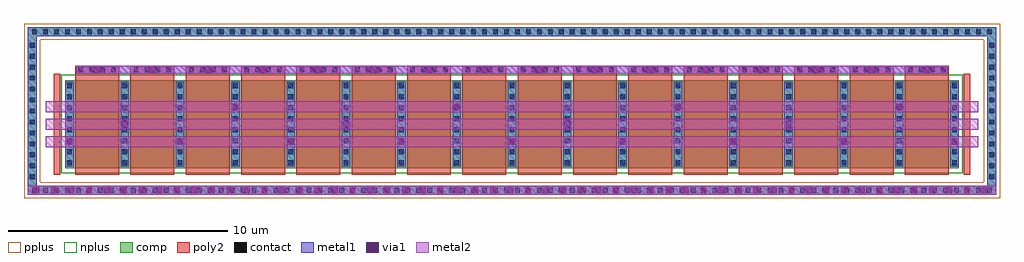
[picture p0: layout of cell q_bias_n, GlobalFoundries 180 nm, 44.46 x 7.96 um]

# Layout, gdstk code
import gdstk
lib = gdstk.Library(unit=1e-6, precision=1e-09)
def R(c, l, rs):  # rectangles x0, y0, x1, y1
    for r in rs: c.add(gdstk.rectangle(r[:2], r[2:], *l))
def A(c, l, x, y, w, h, nx, ny, dx, dy):  # array of equal rectangles
    R(c, l, [(x+i*dx, y+j*dy, x+i*dx+w, y+j*dy+h) for i in range(nx) for j in range(ny)])
comp = (22, 0)
poly2 = (30, 0)
pplus = (31, 0)
nplus = (32, 0)
contact = (33, 0)
metal1 = (34, 0)
via1 = (35, 0)
metal2 = (36, 0)

q_bias_n = lib.new_cell('q_bias_n')
R(q_bias_n, comp, [(0,0,44.14,0.42), (0,0,0.42,7.64), (43.72,0,44.14,7.64), (1.72,1.22,42.42,5.22), (0,7.22,44.14,7.64)])
A(q_bias_n, poly2, 2.17, 0.92, 2, 4.96, 16, 1, 2.52, 0)
R(q_bias_n, poly2, [(1.2,0.92,1.48,5.52), (42.66,0.92,42.94,5.52)])
R(q_bias_n, pplus, [(-0.16,-0.16,44.3,0.58), (-0.16,-0.16,0.58,7.8), (43.56,-0.16,44.3,7.8), (-0.16,7.06,44.3,7.8)])
R(q_bias_n, nplus, [(1.54,0.98,42.6,5.46)])
A(q_bias_n, contact, 0.21, 0.1, 0.22, 0.22, 88, 2, 0.5, 7.22)
A(q_bias_n, contact, 0.1, 0.71, 0.22, 0.22, 1, 13, 0, 0.5)
A(q_bias_n, contact, 43.82, 0.71, 0.22, 0.22, 1, 13, 0, 0.5)
A(q_bias_n, contact, 1.8, 1.36, 0.22, 0.22, 17, 8, 2.52, 0.5)
A(q_bias_n, contact, 2.31, 5.59, 0.22, 0.22, 4, 1, 0.5, 0)
A(q_bias_n, contact, 4.83, 5.59, 0.22, 0.22, 4, 1, 0.5, 0)
A(q_bias_n, contact, 7.35, 5.59, 0.22, 0.22, 4, 1, 0.5, 0)
A(q_bias_n, contact, 9.87, 5.59, 0.22, 0.22, 4, 1, 0.5, 0)
A(q_bias_n, contact, 12.39, 5.59, 0.22, 0.22, 4, 1, 0.5, 0)
A(q_bias_n, contact, 14.91, 5.59, 0.22, 0.22, 4, 1, 0.5, 0)
A(q_bias_n, contact, 17.43, 5.59, 0.22, 0.22, 4, 1, 0.5, 0)
A(q_bias_n, contact, 19.95, 5.59, 0.22, 0.22, 4, 1, 0.5, 0)
A(q_bias_n, contact, 22.47, 5.59, 0.22, 0.22, 4, 1, 0.5, 0)
A(q_bias_n, contact, 24.99, 5.59, 0.22, 0.22, 4, 1, 0.5, 0)
A(q_bias_n, contact, 27.51, 5.59, 0.22, 0.22, 4, 1, 0.5, 0)
A(q_bias_n, contact, 30.03, 5.59, 0.22, 0.22, 4, 1, 0.5, 0)
A(q_bias_n, contact, 32.55, 5.59, 0.22, 0.22, 4, 1, 0.5, 0)
A(q_bias_n, contact, 35.07, 5.59, 0.22, 0.22, 4, 1, 0.5, 0)
A(q_bias_n, contact, 37.59, 5.59, 0.22, 0.22, 4, 1, 0.5, 0)
A(q_bias_n, contact, 40.11, 5.59, 0.22, 0.22, 4, 1, 0.5, 0)
A(q_bias_n, metal1, 1.72, 1.28, 0.38, 3.88, 17, 1, 2.52, 0)
R(q_bias_n, metal1, [(0,0,44.14,0.42), (0,0,0.42,7.64), (43.72,0,44.14,7.64), (2.23,5.51,41.91,5.89), (0,7.22,44.14,7.64)])
A(q_bias_n, via1, 0.27, 0.08, 0.26, 0.26, 55, 1, 0.8, 0)
A(q_bias_n, via1, 1.78, 2.29, 0.26, 0.26, 9, 1, 5.04, 0)
A(q_bias_n, via1, 4.3, 3.09, 0.26, 0.26, 4, 1, 10.08, 0)
A(q_bias_n, via1, 9.34, 3.89, 0.26, 0.26, 4, 1, 10.08, 0)
A(q_bias_n, via1, 3.04, 5.57, 0.26, 0.26, 16, 1, 2.52, 0)
A(q_bias_n, metal2, 0.82, 2.17, 42.5, 0.5, 1, 3, 0, 0.8)
R(q_bias_n, metal2, [(0,0,44.14,0.42), (2.23,5.51,41.91,5.89)])

lib.write_gds('q_bias_n.gds')
